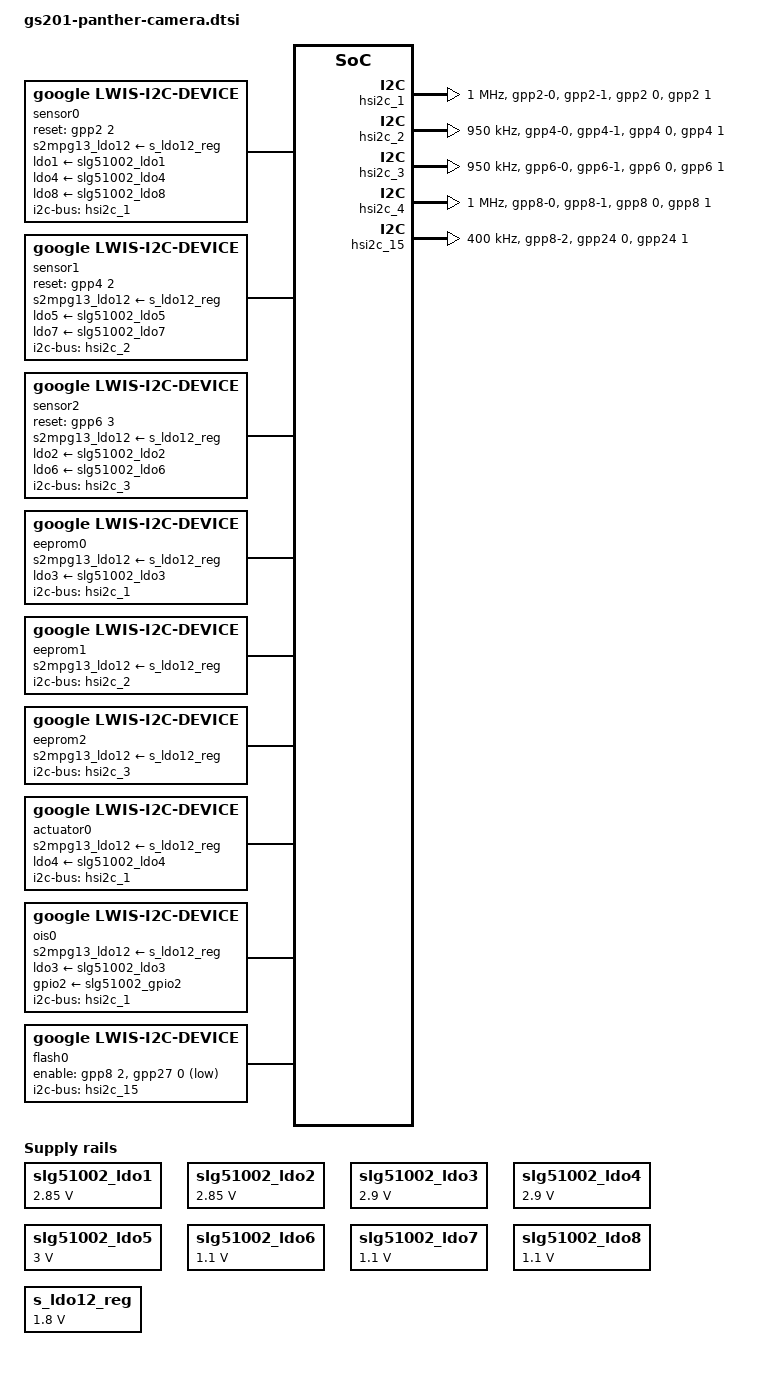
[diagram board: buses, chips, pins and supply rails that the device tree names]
// SPDX-License-Identifier: GPL-2.0-only
/*
 * gs201 camera lwis device tree for cheetah
 *
 * Copyright 2021 Google LLC.
 *
 */

#include <dt-bindings/clock/gs201.h>
#include <dt-bindings/gpio/gpio.h>
#include <dt-bindings/pinctrl/samsung.h>

&slg51002_ldo1 {
	regulator-min-microvolt = <2850000>;
	regulator-max-microvolt = <2850000>;
};

&slg51002_ldo2 {
	regulator-min-microvolt = <2850000>;
	regulator-max-microvolt = <2850000>;
};

&slg51002_ldo3 {
	regulator-min-microvolt = <2900000>;
	regulator-max-microvolt = <2900000>;
};

&slg51002_ldo4 {
	regulator-min-microvolt = <2900000>;
	regulator-max-microvolt = <2900000>;
};

&slg51002_ldo5 {
	regulator-min-microvolt = <3000000>;
	regulator-max-microvolt = <3000000>;
};

&slg51002_ldo6 {
	regulator-min-microvolt = <1100000>;
	regulator-max-microvolt = <1100000>;
};

&slg51002_ldo7 {
	regulator-min-microvolt = <1100000>;
	regulator-max-microvolt = <1100000>;
};

&slg51002_ldo8 {
	regulator-min-microvolt = <1100000>;
	regulator-max-microvolt = <1100000>;
};

&s_ldo12_reg {
	regulator-min-microvolt = <1800000>;
	regulator-max-microvolt = <1800000>;
};

&pinctrl_4 {
	hsi2c1_bus: hsi2c1-bus {
		samsung,pin-pud = <EXYNOS_PIN_PULL_UP>;
	};

	hsi2c1_bus_in: hsi2c1-bus-in {
		samsung,pins = "gpp2-0", "gpp2-1";
		samsung,pin-function = <EXYNOS_PIN_FUNC_INPUT>;
		samsung,pin-pud = <EXYNOS_PIN_PULL_NONE>;
		samsung,pin-drv = <GS101_PIN_DRV_2_5_MA>;
	};

	hsi2c2_bus: hsi2c2-bus {
		samsung,pin-pud = <EXYNOS_PIN_PULL_UP>;
	};

	hsi2c2_bus_in: hsi2c2-bus-in {
		samsung,pins = "gpp4-0", "gpp4-1";
		samsung,pin-function = <EXYNOS_PIN_FUNC_INPUT>;
		samsung,pin-pud = <EXYNOS_PIN_PULL_NONE>;
		samsung,pin-drv = <GS101_PIN_DRV_2_5_MA>;
	};

	hsi2c3_bus: hsi2c3-bus {
		samsung,pin-pud = <EXYNOS_PIN_PULL_UP>;
	};

	hsi2c3_bus_in: hsi2c3-bus-in {
		samsung,pins = "gpp6-0", "gpp6-1";
		samsung,pin-function = <EXYNOS_PIN_FUNC_INPUT>;
		samsung,pin-pud = <EXYNOS_PIN_PULL_NONE>;
		samsung,pin-drv = <GS101_PIN_DRV_2_5_MA>;
	};

	hsi2c4_bus: hsi2c4-bus {
		samsung,pin-pud = <EXYNOS_PIN_PULL_UP>;
	};

	hsi2c4_bus_in: hsi2c4-bus-in {
		samsung,pins = "gpp8-0", "gpp8-1";
		samsung,pin-function = <EXYNOS_PIN_FUNC_INPUT>;
		samsung,pin-pud = <EXYNOS_PIN_PULL_NONE>;
		samsung,pin-drv = <GS101_PIN_DRV_2_5_MA>;
	};

	/* GPP8[2] Flashlight Enable */
	flash_en: flash-en {
		samsung,pins = "gpp8-2";
		samsung,pin-function = <EXYNOS_PIN_FUNC_INPUT>;
		samsung,pin-pud = <EXYNOS_PIN_PULL_NONE>;
		samsung,pin-con-pdn = <EXYNOS_PIN_PDN_PREV>;
		samsung,pin-pud-pdn = <EXYNOS_PIN_PULL_NONE>;
	};

	sensor_mclk1_out: sensor-mclk1-out {
		samsung,pin-drv = <GS101_PIN_DRV_5_MA>;
	};
	sensor_mclk1_fn: sensor-mclk1-fn {
		samsung,pin-drv = <GS101_PIN_DRV_5_MA>;
	};
	sensor_mclk4_out: sensor-mclk4-out {
		samsung,pin-drv = <GS101_PIN_DRV_5_MA>;
	};
	sensor_mclk4_fn: sensor-mclk4-fn {
		samsung,pin-drv = <GS101_PIN_DRV_5_MA>;
	};
};

&hsi2c_1 {
	#address-cells = <1>;
	#size-cells = <0>;
	gpios = <&gpp2 0 GPIO_ACTIVE_HIGH &gpp2 1 GPIO_ACTIVE_HIGH>;
	status = "okay";
	clock-frequency = <1000000>;
	samsung,reset-before-trans;

	pinctrl-names = "default","on_i2c","off_i2c";
	pinctrl-0 = <&hsi2c1_bus_in>;
	pinctrl-1 = <&hsi2c1_bus>;
	pinctrl-2 = <&hsi2c1_bus_in>;
};

&hsi2c_2 {
	#address-cells = <1>;
	#size-cells = <0>;
	gpios = <&gpp4 0 GPIO_ACTIVE_HIGH &gpp4 1 GPIO_ACTIVE_HIGH>;
	status = "okay";
	clock-frequency = <950000>;
	samsung,reset-before-trans;

	pinctrl-names = "default","on_i2c","off_i2c";
	pinctrl-0 = <&hsi2c2_bus_in>;
	pinctrl-1 = <&hsi2c2_bus>;
	pinctrl-2 = <&hsi2c2_bus_in>;
};

&hsi2c_3 {
	#address-cells = <1>;
	#size-cells = <0>;
	gpios = <&gpp6 0 GPIO_ACTIVE_HIGH &gpp6 1 GPIO_ACTIVE_HIGH>;
	status = "okay";
	clock-frequency = <950000>;
	samsung,reset-before-trans;

	pinctrl-names = "default","on_i2c","off_i2c";
	pinctrl-0 = <&hsi2c3_bus_in>;
	pinctrl-1 = <&hsi2c3_bus>;
	pinctrl-2 = <&hsi2c3_bus_in>;
};

&hsi2c_4 {
	#address-cells = <1>;
	#size-cells = <0>;
	gpios = <&gpp8 0 GPIO_ACTIVE_HIGH &gpp8 1 GPIO_ACTIVE_HIGH>;
	status = "okay";
	clock-frequency = <1000000>;
	samsung,reset-before-trans;

	pinctrl-names = "default","on_i2c","off_i2c";
	pinctrl-0 = <&hsi2c4_bus_in>;
	pinctrl-1 = <&hsi2c4_bus>;
	pinctrl-2 = <&hsi2c4_bus_in>;
};

&hsi2c_15 {
	#address-cells = <1>;
	#size-cells = <0>;
	gpios = <&gpp24 0 GPIO_ACTIVE_HIGH &gpp24 1 GPIO_ACTIVE_HIGH>;
	status = "okay";
	clock-frequency = <400000>;

	pinctrl-names = "default","on_i2c","off_i2c";
	pinctrl-0 = <&hsi2c15_bus &flash_en>;
	pinctrl-1 = <&hsi2c15_bus>;
	pinctrl-2 = <&hsi2c15_bus>;
};
/ {
	fragment@lwiscamera {
		target-path = "/";
		__overlay__ {
			/* REAR CAMERA NAGUAL */
			sensor0: sensor@0 {
				compatible = "google,lwis-i2c-device";

				/* Device node name */
				node-name = "sensor-nagual";

				/* I2C */
				i2c-bus = <&hsi2c_1>;
				i2c-addr = <0x3D>;

				/* Registers */
				reg-addr-bitwidth = <16>;
				reg-value-bitwidth = <16>;

				/* GPIOs */
				/* CSID_RST_L GPP2[2] */
				reset-gpios = <&gpp2 2 GPIO_ACTIVE_HIGH>;

				/* Power supplies */
				s2mpg13_ldo12-supply = <&s_ldo12_reg>;
				ldo1-supply = <&slg51002_ldo1>;
				ldo4-supply = <&slg51002_ldo4>;
				ldo8-supply = <&slg51002_ldo8>;
				gpio3-supply = <&slg51002_gpio3>;

				clocks =
					<&clock CIS_CLK3>,
					<&clock GATE_DFTMUX_CMU_CIS_CLK3>;
				clock-names =
					"CIS_CLK3",
					"GATE_DFTMUX_CMU_CIS_CLK3";
				clock-rates =
					<26000000>,
					<0>;

				/* MCLK Control */
				pinctrl-names = "mclk_on", "mclk_off";
				pinctrl-0 = <&sensor_mclk4_fn>;
				pinctrl-1 = <&sensor_mclk4_out>;

				/* Power up sequence */
				power-up-seqs =
					"s2mpg13_ldo12",
					"ldo4",
					"gpio3",
					"ldo8",
					"ldo1",
					"reset",
					"mclk_on";
				power-up-seq-types =
					"regulator",
					"regulator",
					"regulator",
					"regulator",
					"regulator",
					"gpio",
					"pinctrl";
				power-up-seq-delays-us =
					<0
					 1000
					 0
					 0
					 2000
					 1000
					 9000>;

				/* Power down sequence */
				power-down-seqs =
					"mclk_off",
					"reset",
					"ldo1",
					"ldo8",
					"gpio3",
					"ldo4",
					"s2mpg13_ldo12";
				power-down-seq-types =
					"pinctrl",
					"gpio",
					"regulator",
					"regulator",
					"regulator",
					"regulator",
					"regulator";
				power-down-seq-delays-us =
					<1000
					 1000
					 0
					 0
					 6000
					 0
					 0>;

				/* Thread priority */
				transaction-thread-priority = <99>;

				i2c-lock-group-id = <0>;
			};

			/* FRONT CAMERA DOKKAEBI */
			sensor1: sensor@1 {
				compatible = "google,lwis-i2c-device";

				/* Device node name */
				node-name = "sensor-dokkaebi";

				/* I2C */
				i2c-bus = <&hsi2c_2>;
				i2c-addr = <0x10>;

				/* Registers */
				reg-addr-bitwidth = <16>;
				reg-value-bitwidth = <16>;

				/* GPIOs */
				reset-gpios = <&gpp4 2 GPIO_ACTIVE_HIGH>;

				/* Power supplies */
				s2mpg13_ldo12-supply = <&s_ldo12_reg>;
				ldo5-supply = <&slg51002_ldo5>;
				ldo7-supply = <&slg51002_ldo7>;

				clocks =
					<&clock CIS_CLK1>,
					<&clock GATE_DFTMUX_CMU_CIS_CLK1>;
				clock-names =
					"CIS_CLK1",
					"GATE_DFTMUX_CMU_CIS_CLK1";
				clock-rates =
					<24000000>,
					<0>;

				/* MCLK Control */
				pinctrl-names = "mclk_on", "mclk_off";
				pinctrl-0 = <&sensor_mclk2_fn>;
				pinctrl-1 = <&sensor_mclk2_out>;

				/* Power up sequence */
				power-up-seqs =
					"s2mpg13_ldo12",
					"ldo7",
					"ldo5",
					"mclk_on",
					"reset";
				power-up-seq-types =
					"regulator",
					"regulator",
					"regulator",
					"pinctrl",
					"gpio";
				power-up-seq-delays-us =
					<0
					 0
					 1000
					 1000
					 8000>;

				/* Power down sequence */
				power-down-seqs =
					"reset",
					"mclk_off",
					"ldo5",
					"ldo7",
					"s2mpg13_ldo12";
				power-down-seq-types =
					"gpio",
					"pinctrl",
					"regulator",
					"regulator",
					"regulator";
				power-down-seq-delays-us =
					<0
					 1000
					 0
					 0
					 1000>;

				/* Thread priority */
				transaction-thread-priority = <99>;

				i2c-lock-group-id = <1>;
			};

			/* REAR ULTRA WIDE CAMERA SANDWORM */
			sensor2: sensor@2 {
				compatible = "google,lwis-i2c-device";

				/* Device node name */
				node-name = "sensor-sandworm";

				/* I2C */
				i2c-bus = <&hsi2c_3>;
				i2c-addr = <0x1A>;

				/* Registers */
				reg-addr-bitwidth = <16>;
				reg-value-bitwidth = <8>;

				/* GPIOs */
				reset-gpios = <&gpp6 3 GPIO_ACTIVE_HIGH>;

				/* Power supplies */
				s2mpg13_ldo12-supply = <&s_ldo12_reg>;
				ldo2-supply = <&slg51002_ldo2>;
				ldo6-supply = <&slg51002_ldo6>;

				clocks =
					<&clock CIS_CLK0>,
					<&clock GATE_DFTMUX_CMU_CIS_CLK0>;
				clock-names =
					"CIS_CLK0",
					"GATE_DFTMUX_CMU_CIS_CLK0";
				clock-rates =
					<24000000>,
					<0>;

				/* MCLK Control */
				pinctrl-names = "mclk_on", "mclk_off";
				pinctrl-0 = <&sensor_mclk1_fn>;
				pinctrl-1 = <&sensor_mclk1_out>;

				/* Power up sequence */
				power-up-seqs =
					"s2mpg13_ldo12",
					"ldo6",
					"ldo2",
					"mclk_on",
					"reset";
				power-up-seq-types =
					"regulator",
					"regulator",
					"regulator",
					"pinctrl",
					"gpio";
				power-up-seq-delays-us =
					<0
					 0
					 1000
					 1000
					 10000>;

				/* Power down sequence */
				power-down-seqs =
					"reset",
					"mclk_off",
					"ldo2",
					"ldo6",
					"s2mpg13_ldo12";
				power-down-seq-types =
					"gpio",
					"pinctrl",
					"regulator",
					"regulator",
					"regulator";
				power-down-seq-delays-us =
					<1000
					 1000
					 0
					 0
					 1000>;

				/* Thread priority */
				transaction-thread-priority = <99>;

				i2c-lock-group-id = <2>;
			};

			/* EEPROM GARGOYLE for NAGUAL*/
			eeprom0: eeprom@0 {
				compatible = "google,lwis-i2c-device";

				/* Device node name */
				node-name = "eeprom-gargoyle";

				/* I2C */
				i2c-bus = <&hsi2c_1>;
				i2c-addr = <0x24>;

				/* Registers */
				reg-addr-bitwidth = <16>;
				reg-value-bitwidth = <32>;

				/* Power supplies */
				s2mpg13_ldo12-supply = <&s_ldo12_reg>;
				ldo3-supply = <&slg51002_ldo3>;

				/* Power up sequence */
				power-up-seqs =
					"s2mpg13_ldo12",
					"ldo3";
				power-up-seq-types =
					"regulator",
					"regulator";
				power-up-seq-delays-us =
					<1000
					 1000>;

				/* Power down sequence */
				power-down-seqs =
					"ldo3",
					"s2mpg13_ldo12";
				power-down-seq-types =
					"regulator",
					"regulator";
				power-down-seq-delays-us =
					<1000
					 1000>;

				i2c-lock-group-id = <0>;
			};

			/* EEPROM SMAUG for DOKKAEBI */
			eeprom1: eeprom@1 {
				compatible = "google,lwis-i2c-device";

				/* Device node name */
				node-name = "eeprom-smaug-dokkaebi";

				/* I2C */
				i2c-bus = <&hsi2c_2>;
				i2c-addr = <0x51>;

				/* Registers */
				reg-addr-bitwidth = <16>;
				reg-value-bitwidth = <8>;

				/* Power supplies */
				s2mpg13_ldo12-supply = <&s_ldo12_reg>;

				/* Power up sequence */
				power-up-seqs =
					"s2mpg13_ldo12";
				power-up-seq-types =
					"regulator";
				power-up-seq-delays-us =
					<1000>;

				/* Power down sequence */
				power-down-seqs =
					"s2mpg13_ldo12";
				power-down-seq-types =
					"regulator";
				power-down-seq-delays-us =
					<1000>;

				i2c-lock-group-id = <1>;
			};

			/* EEPROM SMAUG for SANDWORM */
			eeprom2: eeprom@2 {
				compatible = "google,lwis-i2c-device";

				/* Device node name */
				node-name = "eeprom-smaug-sandworm";

				/* I2C */
				i2c-bus = <&hsi2c_3>;
				i2c-addr = <0x50>;

				/* Registers */
				reg-addr-bitwidth = <16>;
				reg-value-bitwidth = <8>;

				/* Power supplies */
				s2mpg13_ldo12-supply = <&s_ldo12_reg>;

				/* Power up sequence */
				power-up-seqs =
					"s2mpg13_ldo12";
				power-up-seq-types =
					"regulator";
				power-up-seq-delays-us =
					<1000>;

				/* Power down sequence */
				power-down-seqs =
					"s2mpg13_ldo12";
				power-down-seq-types =
					"regulator";
				power-down-seq-delays-us =
					<1000>;

				i2c-lock-group-id = <2>;
			};

			/* Actuator SLENDERMAN for NAGUAL*/
			actuator0: actuator@0 {
				compatible = "google,lwis-i2c-device";

				/* Device node name */
				node-name = "act-slenderman";

				/* I2C */
				i2c-bus = <&hsi2c_1>;
				i2c-addr = <0xC>;

				/* Registers */
				reg-addr-bitwidth = <8>;
				reg-value-bitwidth = <8>;

				/* Power supplies */
				s2mpg13_ldo12-supply = <&s_ldo12_reg>;
				ldo4-supply = <&slg51002_ldo4>;

				/* Power up sequence */
				power-up-seqs =
					"s2mpg13_ldo12",
					"ldo4";
				power-up-seq-types =
					"regulator",
					"regulator";
				power-up-seq-delays-us =
					<0
					 0>;

				/* Power down sequence */
				power-down-seqs =
					"ldo4",
					"s2mpg13_ldo12";
				power-down-seq-types =
					"regulator",
					"regulator";
				power-down-seq-delays-us =
					<0
					 0>;

				/* Thread priority */
				periodic-io-thread-priority = <99>;

				i2c-lock-group-id = <0>;
			};

			/* Ois GARGOYLE for NAGUAL*/
			ois0: ois@0 {
				compatible = "google,lwis-i2c-device";

				/* Device node name */
				node-name = "ois-gargoyle";

				/* I2C */
				i2c-bus = <&hsi2c_1>;
				i2c-addr = <0x24>;

				/* Registers */
				reg-addr-bitwidth = <16>;
				reg-value-bitwidth = <32>;

				/* Power supplies */
				s2mpg13_ldo12-supply = <&s_ldo12_reg>;
				ldo3-supply = <&slg51002_ldo3>;
				gpio2-supply = <&slg51002_gpio2>;

				/* Power up sequence */
				power-up-seqs =
					"s2mpg13_ldo12",
					"ldo3",
					"gpio2";
				power-up-seq-types =
					"regulator",
					"regulator",
					"regulator";
				power-up-seq-delays-us =
					<1000
					 1000
					 1000>;

				/* Power down sequence */
				power-down-seqs =
					"gpio2",
					"ldo3",
					"s2mpg13_ldo12";
				power-down-seq-types =
					"regulator",
					"regulator",
					"regulator";
				power-down-seq-delays-us =
					<5000
					 4000
					 0>;

				/* Thread priority */
				periodic-io-thread-priority = <99>;

				i2c-lock-group-id = <0>;
			};

			flash0: flash@0 {
				compatible = "google,lwis-i2c-device";

				/* Device node name */
				node-name = "flash-lm3644";

				/* I2C */
				i2c-bus = <&hsi2c_15>;
				i2c-addr = <0x63>;

				/* Registers */
				reg-addr-bitwidth = <8>;
				reg-value-bitwidth = <8>;

				/* Power Management hibernation (deep sleep) */
				/* 1 : enable, 0 : disable */
				pm-hibernation = <0>;

				/* GPIOs */
				/* HW_ENABLE GPP8[2] */
				/* FLASH_STROBE GPP27[0] */
				enable-gpios =
					<&gpp8 2 GPIO_ACTIVE_HIGH
					 &gpp27 0 GPIO_ACTIVE_LOW>;
			};
		};
	};
};
